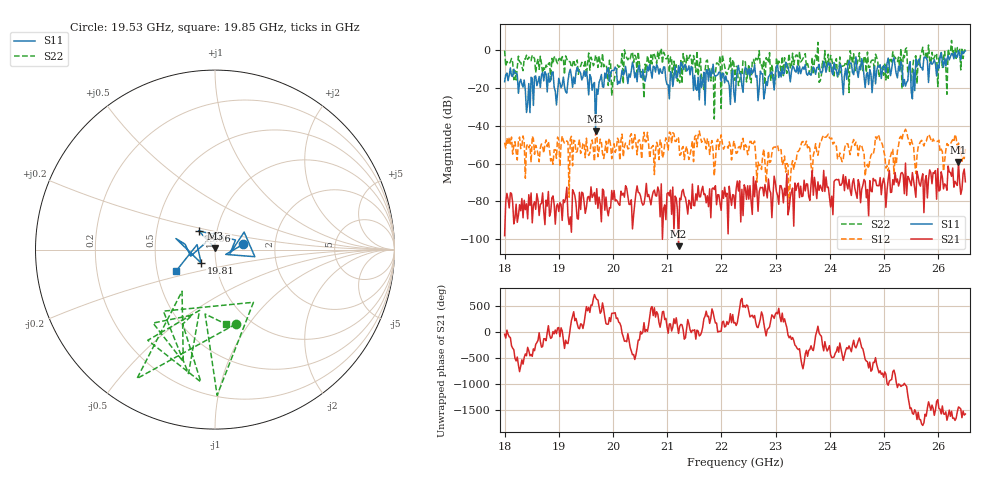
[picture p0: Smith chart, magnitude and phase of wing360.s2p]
!Keysight Technologies,N5242B,MY47200105,A.14.00.23
!Date: Friday, May 10, 2024 11:19:58
!Correction: S11(C  2-Port  )
!S21(C  2-Port  )
!S12(C  2-Port  )
!S22(C  2-Port  )
!S2P File: Measurement: :
# Hz S  RI  R 50
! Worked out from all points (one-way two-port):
!   401 points, 18 GHz to 26.5 GHz, reference 50 ohm
!   highest |S21| = -59.41 dB at 26.37 GHz (marker M1); lowest = -103.7 dB at 21.21 GHz (marker M2)
!   lowest |S11| = -43.0 dB at 19.68 GHz (marker M3), VSWR 1.01, Z = 50.3 + j0.664 ohm
!   |S11| at or under -10 dB: 18.11 GHz to 19.33 GHz (1.222 GHz wide, 6.53 % of centre); 19.35 GHz to 19.9 GHz (550.5 MHz wide, 2.81 % of centre); 21.86 GHz to 22.3 GHz (444.4 MHz wide, 2.01 % of centre) (the widest 3 of 57)
!   |S22| runs from -36.4 to 5.1 dB; largest |S21 - S12| = 0.0081
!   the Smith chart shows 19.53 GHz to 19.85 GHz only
!   S11 on the Smith chart (normalised r, x): 19.53 GHz: 1.37, +0.08; 19.66 GHz: 0.82, +0.17; 19.81 GHz: 0.85, -0.13; 19.85 GHz: 0.63, -0.16
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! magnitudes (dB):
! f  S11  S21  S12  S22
! 18 GHz  -16.7  -98.1  -48.9  -0.3
! 18.43 GHz  -28.7  -89.2  -49.7  -4.9
! 19.42 GHz  -15.8  -75.1  -53.1  -6.5
! 19.53 GHz  -15.9  -77.8  -52.8  -7.3
! 19.66 GHz  -17.1  -75.3  -58.8  -6.9
! 19.68 GHz  -43.0  -81.5  -44.0  -2.6
! 19.81 GHz  -19.4  -73.5  -54.7  -1.8
! 19.85 GHz  -12.1  -84.6  -53.9  -7.6
! 20.85 GHz  -12.7  -74.6  -57.9  -4.5
! 21.21 GHz  -8.2  -103.7  -46.5  -14.8
! 22.25 GHz  -27.6  -83.7  -50.7  -16.0
! 22.7 GHz  -20.5  -74.9  -61.0  -0.3
! 23.06 GHz  -14.5  -81.5  -53.4  -5.8
! 23.23 GHz  -9.1  -87.1  -60.8  -6.8
! 23.52 GHz  -10.2  -68.8  -50.2  -3.2
! 23.67 GHz  -10.7  -63.7  -66.5  -3.9
! 23.93 GHz  -11.7  -67.0  -46.1  -10.6
! 25.1 GHz  -9.1  -63.6  -57.4  -6.2
! 25.39 GHz  -19.0  -59.7  -41.9  0.5
! 25.59 GHz  -4.9  -77.8  -65.3  -3.0
! 26.37 GHz  -0.1  -59.4  -49.1  1.4
! 26.5 GHz  -0.5  -69.6  -52.2  0.4
